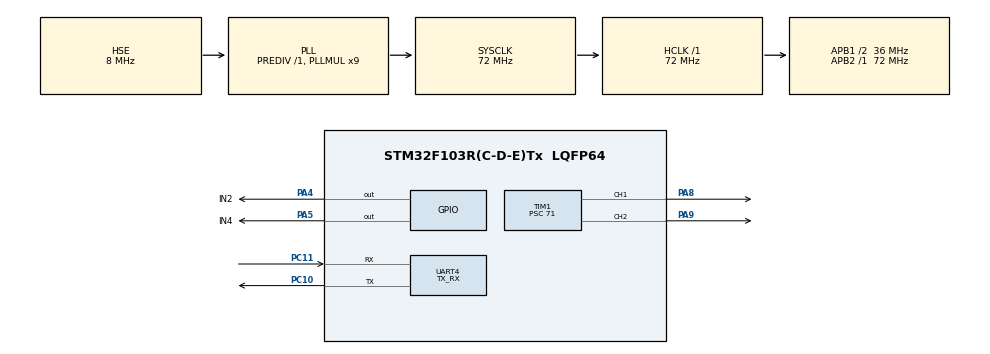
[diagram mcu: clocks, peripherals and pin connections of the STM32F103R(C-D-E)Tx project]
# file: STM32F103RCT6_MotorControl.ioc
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Mcu.Family=STM32F1
Mcu.Name=STM32F103R(C-D-E)Tx
Mcu.Package=LQFP64
NVIC.PriorityGroup=NVIC_PRIORITYGROUP_4
NVIC.UART4_IRQn=true\:0\:0\:false\:false\:true\:true\:true\:true
PA4.GPIO_Label=IN2
PA4.Signal=GPIO_Output
PA5.GPIO_Label=IN4
PA5.Signal=GPIO_Output
PA8.Signal=S_TIM1_CH1
PA9.Signal=S_TIM1_CH2
PC10.Mode=Asynchronous
PC10.Signal=UART4_TX
PC11.Mode=Asynchronous
PC11.Signal=UART4_RX
PD0-OSC_IN.Mode=HSE-External-Oscillator
PD0-OSC_IN.Signal=RCC_OSC_IN
PD1-OSC_OUT.Mode=HSE-External-Oscillator
PD1-OSC_OUT.Signal=RCC_OSC_OUT
ProjectManager.HeapSize=0x200
ProjectManager.StackSize=0x400
ProjectManager.TargetToolchain=MDK-ARM V5.32
RCC.AHBFreq_Value=72000000
RCC.APB1CLKDivider=RCC_HCLK_DIV2
RCC.APB1Freq_Value=36000000
RCC.APB1TimFreq_Value=72000000
RCC.APB2Freq_Value=72000000
RCC.APB2TimFreq_Value=72000000
RCC.HCLKFreq_Value=72000000
RCC.PLLMUL=RCC_PLL_MUL9
RCC.PLLSourceVirtual=RCC_PLLSOURCE_HSE
RCC.SYSCLKFreq_VALUE=72000000
RCC.SYSCLKSource=RCC_SYSCLKSOURCE_PLLCLK
RCC.USBFreq_Value=72000000
SH.S_TIM1_CH1.0=TIM1_CH1,PWM Generation1 CH1
SH.S_TIM1_CH2.0=TIM1_CH2,PWM Generation2 CH2
TIM1.Channel-PWM\ Generation1\ CH1=TIM_CHANNEL_1
TIM1.Channel-PWM\ Generation2\ CH2=TIM_CHANNEL_2
TIM1.Period=99
TIM1.Prescaler=71
UART4.Mode=MODE_TX_RX
UART4.VirtualMode=Asynchronous
VP_SYS_VS_ND.Mode=No_Debug
VP_TIM1_VS_ClockSourceINT.Mode=Internal
board=custom

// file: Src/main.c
/* USER CODE BEGIN Header */
/**
  ******************************************************************************
  * @file           : main.c
  * @brief          : Main program body
  ******************************************************************************
  * @attention
  *
  * Copyright (c) 2024 STMicroelectronics.
  * All rights reserved.
  *
  * This software is licensed under terms that can be found in the LICENSE file
  * in the root directory of this software component.
  * If no LICENSE file comes with this software, it is provided AS-IS.
  *
  ******************************************************************************
  */
/* USER CODE END Header */
#include "main.h"

/* USER CODE BEGIN Includes */
#include <stdlib.h>
#include <string.h>
/* USER CODE END Includes */

/* USER CODE BEGIN PD */
#define true 1
#define false 0
#define LEFT_MOTOR_PWM 	TIM_CHANNEL_1

#define RIGHT_MOTOR_PWM	TIM_CHANNEL_2
/* USER CODE END PD */

TIM_HandleTypeDef htim1;

UART_HandleTypeDef huart4;

/* USER CODE BEGIN PV */
uint8_t Rx_data[2];
uint8_t data[20];
uint8_t motor_speed, motor_mode;
uint8_t begin, end, data_idx;

uint8_t change = false;
/* USER CODE END PV */

void SystemClock_Config(void);
static void MX_GPIO_Init(void);
static void MX_TIM1_Init(void);
static void MX_UART4_Init(void);
/* USER CODE BEGIN PFP */
void HAL_UART_RxCpltCallback(UART_HandleTypeDef *huart);
void handle_data(void);
void stop_motor(void);
void turn_left(void);
void turn_right(void);
void run_forward(void);
void run_backward(void);
void detect_change(void);
//{
//	if(end)//end = true
//	{
//		uint8_t mode = atoi(&data[0]);
//
//		end=false;
//	}
//}
/* USER CODE END PFP */

int main(void)
{
  /* USER CODE BEGIN 1 */
	uint8_t pwm = 90;
  /* USER CODE END 1 */

  /* MCU Configuration--------------------------------------------------------*/

  /* Reset of all peripherals, Initializes the Flash interface and the Systick. */
  HAL_Init();

  /* Configure the system clock */
  SystemClock_Config();

  /* Initialize all configured peripherals */
  MX_GPIO_Init();
  MX_TIM1_Init();
  MX_UART4_Init();
  /* USER CODE BEGIN 2 */
	HAL_TIM_PWM_Start(&htim1, TIM_CHANNEL_1);
	HAL_TIM_PWM_Start(&htim1, TIM_CHANNEL_2);

	stop_motor();
	HAL_UART_Receive_IT(&huart4,Rx_data,1);
  /* USER CODE END 2 */

  /* Infinite loop */
  /* USER CODE BEGIN WHILE */
  while (true)
  {
		detect_change();
    /* USER CODE END WHILE */

	}
}

void SystemClock_Config(void)
{
  RCC_OscInitTypeDef RCC_OscInitStruct = {0};
  RCC_ClkInitTypeDef RCC_ClkInitStruct = {0};

  /** Initializes the RCC Oscillators according to the specified parameters
  * in the RCC_OscInitTypeDef structure.
  */
  RCC_OscInitStruct.OscillatorType = RCC_OSCILLATORTYPE_HSE;
  RCC_OscInitStruct.HSEState = RCC_HSE_ON;
  RCC_OscInitStruct.HSEPredivValue = RCC_HSE_PREDIV_DIV1;
  RCC_OscInitStruct.HSIState = RCC_HSI_ON;
  RCC_OscInitStruct.PLL.PLLState = RCC_PLL_ON;
  RCC_OscInitStruct.PLL.PLLSource = RCC_PLLSOURCE_HSE;
  RCC_OscInitStruct.PLL.PLLMUL = RCC_PLL_MUL9;
  if (HAL_RCC_OscConfig(&RCC_OscInitStruct) != HAL_OK)
  {
    Error_Handler();
  }

  /** Initializes the CPU, AHB and APB buses clocks
  */
  RCC_ClkInitStruct.ClockType = RCC_CLOCKTYPE_HCLK|RCC_CLOCKTYPE_SYSCLK
                              |RCC_CLOCKTYPE_PCLK1|RCC_CLOCKTYPE_PCLK2;
  RCC_ClkInitStruct.SYSCLKSource = RCC_SYSCLKSOURCE_PLLCLK;
  RCC_ClkInitStruct.AHBCLKDivider = RCC_SYSCLK_DIV1;
  RCC_ClkInitStruct.APB1CLKDivider = RCC_HCLK_DIV2;
  RCC_ClkInitStruct.APB2CLKDivider = RCC_HCLK_DIV1;

  if (HAL_RCC_ClockConfig(&RCC_ClkInitStruct, FLASH_LATENCY_2) != HAL_OK)
  {
    Error_Handler();
  }
}

static void MX_TIM1_Init(void)
{

  TIM_ClockConfigTypeDef sClockSourceConfig = {0};
  TIM_MasterConfigTypeDef sMasterConfig = {0};
  TIM_OC_InitTypeDef sConfigOC = {0};
  TIM_BreakDeadTimeConfigTypeDef sBreakDeadTimeConfig = {0};

  htim1.Instance = TIM1;
  htim1.Init.Prescaler = 71;
  htim1.Init.CounterMode = TIM_COUNTERMODE_UP;
  htim1.Init.Period = 99;
  htim1.Init.ClockDivision = TIM_CLOCKDIVISION_DIV1;
  htim1.Init.RepetitionCounter = 0;
  htim1.Init.AutoReloadPreload = TIM_AUTORELOAD_PRELOAD_DISABLE;
  if (HAL_TIM_Base_Init(&htim1) != HAL_OK)
  {
    Error_Handler();
  }
  sClockSourceConfig.ClockSource = TIM_CLOCKSOURCE_INTERNAL;
  if (HAL_TIM_ConfigClockSource(&htim1, &sClockSourceConfig) != HAL_OK)
  {
    Error_Handler();
  }
  if (HAL_TIM_PWM_Init(&htim1) != HAL_OK)
  {
    Error_Handler();
  }
  sMasterConfig.MasterOutputTrigger = TIM_TRGO_RESET;
  sMasterConfig.MasterSlaveMode = TIM_MASTERSLAVEMODE_DISABLE;
  if (HAL_TIMEx_MasterConfigSynchronization(&htim1, &sMasterConfig) != HAL_OK)
  {
    Error_Handler();
  }
  sConfigOC.OCMode = TIM_OCMODE_PWM1;
  sConfigOC.Pulse = 0;
  sConfigOC.OCPolarity = TIM_OCPOLARITY_HIGH;
  sConfigOC.OCNPolarity = TIM_OCNPOLARITY_HIGH;
  sConfigOC.OCFastMode = TIM_OCFAST_DISABLE;
  sConfigOC.OCIdleState = TIM_OCIDLESTATE_RESET;
  sConfigOC.OCNIdleState = TIM_OCNIDLESTATE_RESET;
  if (HAL_TIM_PWM_ConfigChannel(&htim1, &sConfigOC, TIM_CHANNEL_1) != HAL_OK)
  {
    Error_Handler();
  }
  if (HAL_TIM_PWM_ConfigChannel(&htim1, &sConfigOC, TIM_CHANNEL_2) != HAL_OK)
  {
    Error_Handler();
  }
  sBreakDeadTimeConfig.OffStateRunMode = TIM_OSSR_DISABLE;
  sBreakDeadTimeConfig.OffStateIDLEMode = TIM_OSSI_DISABLE;
  sBreakDeadTimeConfig.LockLevel = TIM_LOCKLEVEL_OFF;
  sBreakDeadTimeConfig.DeadTime = 0;
  sBreakDeadTimeConfig.BreakState = TIM_BREAK_DISABLE;
  sBreakDeadTimeConfig.BreakPolarity = TIM_BREAKPOLARITY_HIGH;
  sBreakDeadTimeConfig.AutomaticOutput = TIM_AUTOMATICOUTPUT_DISABLE;
  if (HAL_TIMEx_ConfigBreakDeadTime(&htim1, &sBreakDeadTimeConfig) != HAL_OK)
  {
    Error_Handler();
  }
  HAL_TIM_MspPostInit(&htim1);

}

static void MX_UART4_Init(void)
{

  huart4.Instance = UART4;
  huart4.Init.BaudRate = 115200;
  huart4.Init.WordLength = UART_WORDLENGTH_8B;
  huart4.Init.StopBits = UART_STOPBITS_1;
  huart4.Init.Parity = UART_PARITY_NONE;
  huart4.Init.Mode = UART_MODE_TX_RX;
  huart4.Init.HwFlowCtl = UART_HWCONTROL_NONE;
  huart4.Init.OverSampling = UART_OVERSAMPLING_16;
  if (HAL_UART_Init(&huart4) != HAL_OK)
  {
    Error_Handler();
  }

}

static void MX_GPIO_Init(void)
{
  GPIO_InitTypeDef GPIO_InitStruct = {0};

  /* GPIO Ports Clock Enable */
  __HAL_RCC_GPIOD_CLK_ENABLE();
  __HAL_RCC_GPIOA_CLK_ENABLE();
  __HAL_RCC_GPIOC_CLK_ENABLE();

  /*Configure GPIO pin Output Level */
  HAL_GPIO_WritePin(GPIOA, IN2_Pin|IN4_Pin, GPIO_PIN_RESET);

  /*Configure GPIO pins : IN2_Pin IN4_Pin */
  GPIO_InitStruct.Pin = IN2_Pin|IN4_Pin;
  GPIO_InitStruct.Mode = GPIO_MODE_OUTPUT_PP;
  GPIO_InitStruct.Pull = GPIO_NOPULL;
  GPIO_InitStruct.Speed = GPIO_SPEED_FREQ_LOW;
  HAL_GPIO_Init(GPIOA, &GPIO_InitStruct);

}

/* USER CODE BEGIN 4 */

void clear_data(void)
{
	for(int i=0;i<20;i++)	{data[i]=0;}
}
void HAL_UART_RxCpltCallback(UART_HandleTypeDef *huart)
{
	uint8_t i;
	if( huart->Instance==UART4)
	{
		switch(Rx_data[0])
		{
			case '*':
				clear_data();
				begin=true;
				break;
			case '#':
				end = true;
				begin = false;
				data_idx = 0;
				HAL_UART_Transmit(&huart4,data,20,1000);
				handle_data();
				//end = false;
				break;
			default:
			{
				if(begin && !end)
				{
					data[data_idx]= Rx_data[0];
					data_idx++;
				}
			}
		}
		HAL_UART_Receive_IT(&huart4,Rx_data,1);
	}
}
uint8_t* substring(const uint8_t* str, int start, int end){
    int length = end - start;
    uint8_t* substr = (uint8_t*)malloc((length+1)*sizeof(uint8_t));
    strncpy(substr, str + start,length);
    substr[length]='\0';
    return substr;
}

void stop_motor(void)
{
	__HAL_TIM_SetCompare(&htim1, LEFT_MOTOR_PWM, 0);
	__HAL_TIM_SetCompare(&htim1, RIGHT_MOTOR_PWM, 0);
	HAL_GPIO_WritePin(GPIOA,IN2_Pin,0);
	HAL_GPIO_WritePin(GPIOA,IN4_Pin,0);
}
void turn_left(void)
{
	__HAL_TIM_SetCompare(&htim1, LEFT_MOTOR_PWM, motor_speed);
	HAL_GPIO_WritePin(GPIOA,IN2_Pin,0);
	HAL_UART_Transmit(&huart4,"\nMotor turn left",16,1000);
}
void turn_right(void)
{
	__HAL_TIM_SetCompare(&htim1, RIGHT_MOTOR_PWM, motor_speed);
	HAL_GPIO_WritePin(GPIOA,IN4_Pin,0);
	HAL_UART_Transmit(&huart4,"\nMotor turn right",17,1000);
}
void run_forward(void)
{
	__HAL_TIM_SetCompare(&htim1, LEFT_MOTOR_PWM, motor_speed);
	HAL_GPIO_WritePin(GPIOA,IN2_Pin,0);
	__HAL_TIM_SetCompare(&htim1, RIGHT_MOTOR_PWM,motor_speed);
	HAL_GPIO_WritePin(GPIOA,IN4_Pin,0);
	HAL_UART_Transmit(&huart4,"\nMotor run fw",13,1000);
}
void run_backward(void)
{
	__HAL_TIM_SetCompare(&htim1, LEFT_MOTOR_PWM, 100-motor_speed);
	HAL_GPIO_WritePin(GPIOA,IN2_Pin,1);
	__HAL_TIM_SetCompare(&htim1, RIGHT_MOTOR_PWM, 100-motor_speed);
	HAL_GPIO_WritePin(GPIOA,IN4_Pin,1);
	HAL_UART_Transmit(&huart4,"\nMotor run bw",13,1000);
}

void handle_data(void)
{
	if(end)//detect end trig
	{
		end = false;
		motor_mode = data[0];
		if(motor_mode=='5')
		{
			HAL_UART_Transmit(&huart4,"speed",5,1000);
			uint8_t* speed_str = substring(data,2,5);
			motor_speed = atoi(speed_str);
			free(speed_str);
		}
		change = true;
	}else return;
}
void run_motor(void)
{
	switch(motor_mode)
		{
			case '0':
				stop_motor();
				break;
			case '1':
				//HAL_UART_Transmit(&huart4,"forward",7,1000);
				run_forward();
				break;
			case '2':
				//HAL_UART_Transmit(&huart4,"backward",8,1000);
				run_backward();
				break;
			case '3':
				//HAL_UART_Transmit(&huart4,"left",4,1000);
				turn_left();
				break;
			case '4':
				//HAL_UART_Transmit(&huart4,"right",5,1000);
				turn_right();
				break;
			default	: HAL_UART_Transmit(&huart4,"invalid",7,1000); 	break;
		}
}
void detect_change(void)
{
	if(change)
	{
		run_motor();
		change = false;
	}
}
/* USER CODE END 4 */

void Error_Handler(void)
{
  __disable_irq();
  while (1)
  {
  }
}
